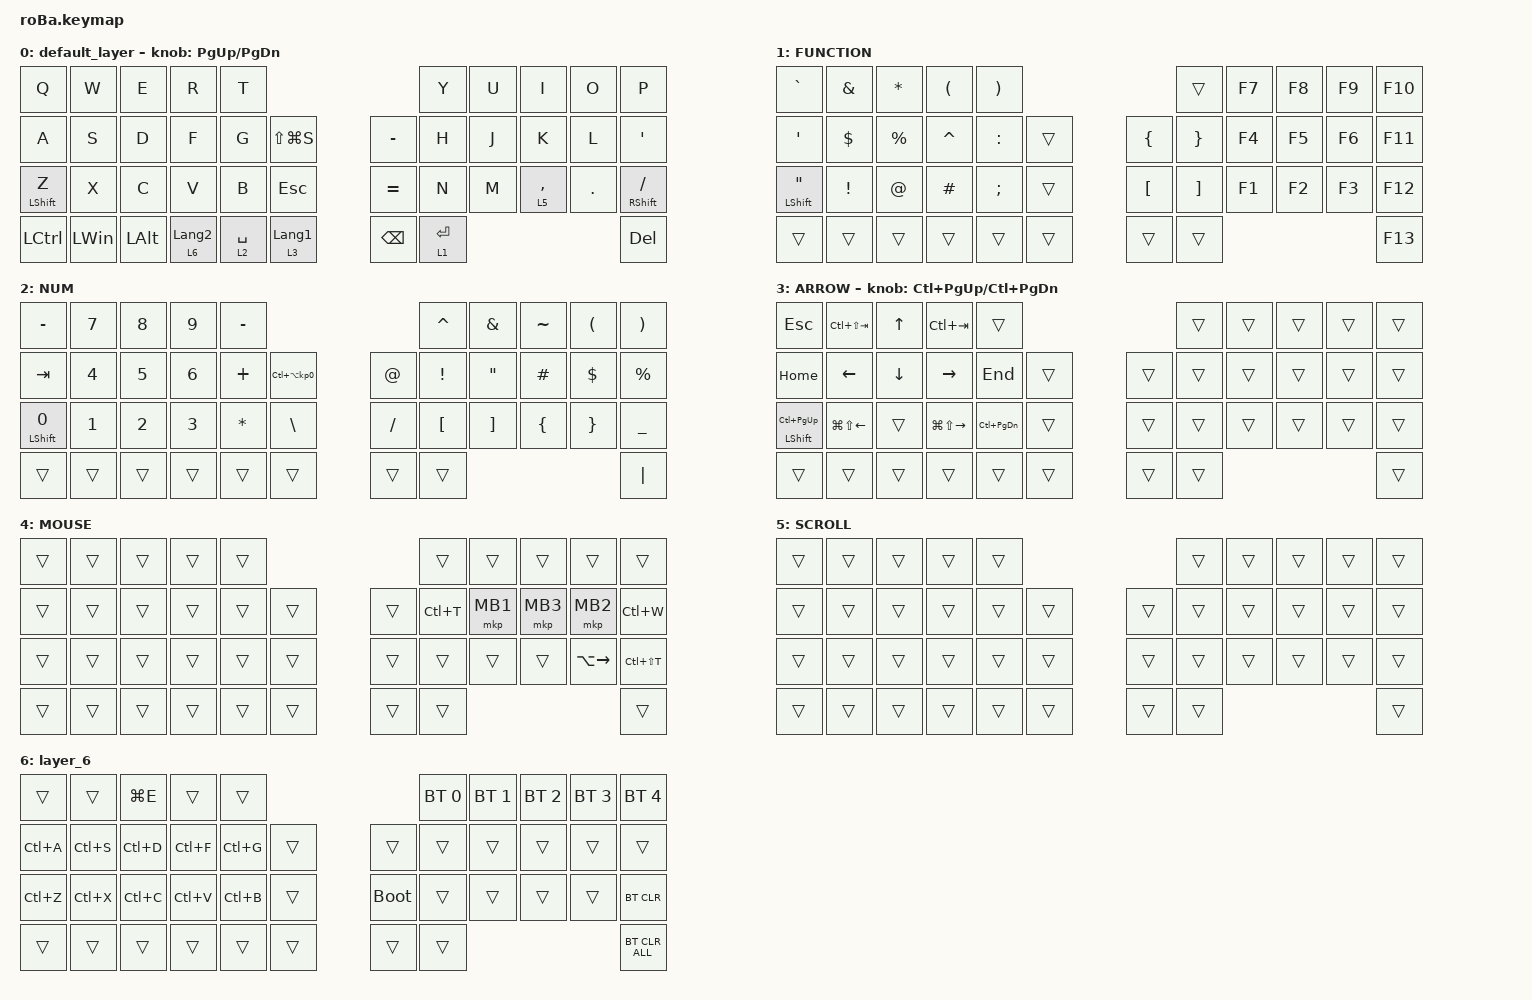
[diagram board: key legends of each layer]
#include <behaviors.dtsi>
#include <dt-bindings/zmk/bt.h>
#include <dt-bindings/zmk/keys.h>
#include <dt-bindings/zmk/pointing.h>

&mt {
    flavor = "balanced";
    quick-tap-ms = <0>;
};

/ {
    combos {
        compatible = "zmk,combos";

        tab {
            bindings = <&kp TAB>;
            key-positions = <11 12>;
        };

        shift_tab {
            bindings = <&kp LS(TAB)>;
            key-positions = <12 13>;
        };

        muhennkann {
            bindings = <&to_layer_0 INT_MUHENKAN>;
            key-positions = <11 10>;
        };

        double_quotation {
            bindings = <&kp DOUBLE_QUOTES>;
            key-positions = <20 21>;
        };

        eq {
            bindings = <&kp EQUAL>;
            key-positions = <24 25>;
        };
    };

    macros {
        to_layer_0: to_layer_0 {
            compatible = "zmk,behavior-macro-one-param";
            #binding-cells = <1>;
            bindings = <&to 0 &macro_param_1to1 &kp MACRO_PLACEHOLDER>;
            label = "TO_LAYER_0";
        };
    };

    behaviors {
        lt_to_layer_0: lt_to_layer_0 {
            compatible = "zmk,behavior-hold-tap";
            label = "LAYER_TAP_TO_0";
            bindings = <&mo>, <&to_layer_0>;

            #binding-cells = <2>;
            tapping-term-ms = <200>;
        };
    };

    keymap {
        compatible = "zmk,keymap";

        default_layer {
            bindings = <
&kp Q             &kp W         &kp E         &kp R             &kp T                                                        &kp Y        &kp U  &kp I        &kp O    &kp P
&kp A             &kp S         &kp D         &kp F             &kp G        &kp LS(LG(S))                    &kp MINUS      &kp H        &kp J  &kp K        &kp L    &kp SQT
&mt LEFT_SHIFT Z  &kp X         &kp C         &kp V             &kp B        &kp ESCAPE                       &kp EQUAL      &kp N        &kp M  &lt 5 COMMA  &kp DOT  &mt RIGHT_SHIFT SLASH
&kp LCTRL         &kp LEFT_WIN  &kp LEFT_ALT  &lt 6 LANGUAGE_2  &lt 2 SPACE  &lt_to_layer_0 3 LANGUAGE_1      &kp BACKSPACE  &lt 1 ENTER                               &kp DEL
            >;

            sensor-bindings = <&inc_dec_kp PG_UP PAGE_DOWN>;
        };

        FUNCTION {
            bindings = <
&kp GRAVE                     &kp AMPS    &kp ASTERISK  &kp LEFT_PARENTHESIS  &kp RIGHT_PARENTHESIS                                &trans             &kp F7  &kp F8  &kp F9  &kp F10
&kp SINGLE_QUOTE              &kp DOLLAR  &kp PERCENT   &kp CARET             &kp COLON              &trans      &kp LEFT_BRACE    &kp RIGHT_BRACE    &kp F4  &kp F5  &kp F6  &kp F11
&mt LEFT_SHIFT DOUBLE_QUOTES  &kp EXCL    &kp AT        &kp HASH              &kp SEMI               &trans      &kp LEFT_BRACKET  &kp RIGHT_BRACKET  &kp F1  &kp F2  &kp F3  &kp F12
&trans                        &trans      &trans        &trans                &trans                 &trans      &trans            &trans                                     &kp F13
            >;
        };

        NUM {
            bindings = <
&kp MINUS                &kp NUMBER_7  &kp NUMBER_8  &kp NUMBER_9  &kp MINUS                                            &kp CARET         &kp AMPERSAND      &kp TILDE       &kp LEFT_PARENTHESIS  &kp RIGHT_PARENTHESIS
&kp TAB                  &kp NUMBER_4  &kp NUMBER_5  &kp NUMBER_6  &kp PLUS   &kp LC(LA(KP_NUMBER_0))      &kp AT_SIGN  &kp EXCLAMATION   &kp DOUBLE_QUOTES  &kp HASH        &kp DOLLAR            &kp PERCENT
&mt LEFT_SHIFT NUMBER_0  &kp NUMBER_1  &kp NUMBER_2  &kp NUMBER_3  &kp ASTRK  &kp BACKSLASH                &kp SLASH    &kp LEFT_BRACKET  &kp RIGHT_BRACKET  &kp LEFT_BRACE  &kp RIGHT_BRACE       &kp UNDERSCORE
&trans                   &trans        &trans        &trans        &trans     &trans                       &trans       &trans                                                                     &kp PIPE
            >;
        };

        ARROW {
            bindings = <
&kp ESCAPE                  &kp LC(LS(TAB))         &kp UP_ARROW    &kp LC(TAB)              &trans                                 &trans  &trans  &trans  &trans  &trans
&kp HOME                    &kp LEFT_ARROW          &kp DOWN_ARROW  &kp RIGHT_ARROW          &kp END            &trans      &trans  &trans  &trans  &trans  &trans  &trans
&mt LEFT_SHIFT LC(PAGE_UP)  &kp LG(LS(LEFT_ARROW))  &trans          &kp LG(LS(RIGHT_ARROW))  &kp LC(PAGE_DOWN)  &trans      &trans  &trans  &trans  &trans  &trans  &trans
&trans                      &trans                  &trans          &trans                   &trans             &trans      &trans  &trans                          &trans
            >;

            sensor-bindings = <&inc_dec_kp LC(PAGE_UP) LC(PAGE_DOWN)>;
        };

        MOUSE {
            bindings = <
&trans  &trans  &trans  &trans  &trans                      &trans     &trans    &trans    &trans               &trans
&trans  &trans  &trans  &trans  &trans  &trans      &trans  &kp LC(T)  &mkp MB1  &mkp MB3  &mkp MB2             &kp LC(W)
&trans  &trans  &trans  &trans  &trans  &trans      &trans  &trans     &trans    &trans    &kp LA(RIGHT_ARROW)  &kp LC(LS(T))
&trans  &trans  &trans  &trans  &trans  &trans      &trans  &trans                                              &trans
            >;
        };

        SCROLL {
            bindings = <
&trans  &trans  &trans  &trans  &trans                      &trans  &trans  &trans  &trans  &trans
&trans  &trans  &trans  &trans  &trans  &trans      &trans  &trans  &trans  &trans  &trans  &trans
&trans  &trans  &trans  &trans  &trans  &trans      &trans  &trans  &trans  &trans  &trans  &trans
&trans  &trans  &trans  &trans  &trans  &trans      &trans  &trans                          &trans
            >;
        };

        layer_6 {
            bindings = <
&trans     &trans     &kp LG(E)  &trans     &trans                              &bt BT_SEL 0  &bt BT_SEL 1  &bt BT_SEL 2  &bt BT_SEL 3  &bt BT_SEL 4
&kp LC(A)  &kp LC(S)  &kp LC(D)  &kp LC(F)  &kp LC(G)  &trans      &trans       &trans        &trans        &trans        &trans        &trans
&kp LC(Z)  &kp LC(X)  &kp LC(C)  &kp LC(V)  &kp LC(B)  &trans      &bootloader  &trans        &trans        &trans        &trans        &bt BT_CLR
&trans     &trans     &trans     &trans     &trans     &trans      &trans       &trans                                                  &bt BT_CLR_ALL
            >;
        };
    };
};
